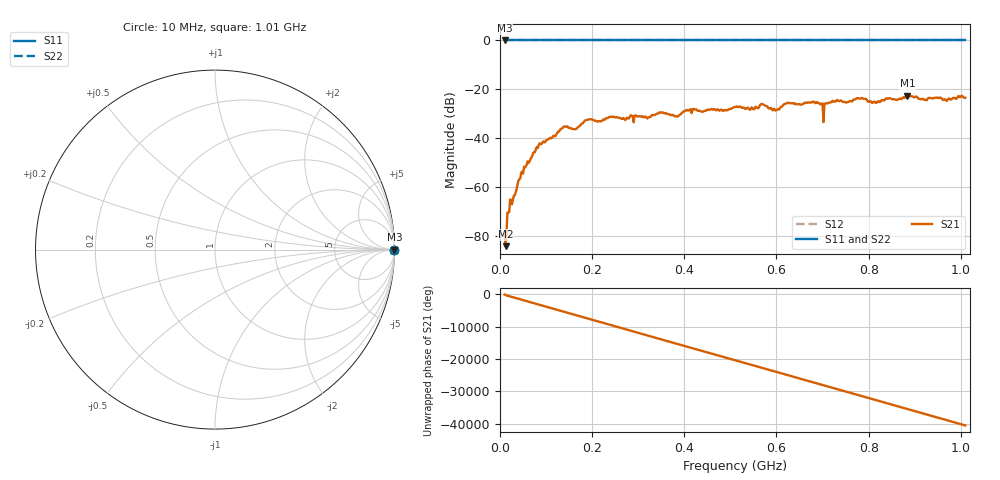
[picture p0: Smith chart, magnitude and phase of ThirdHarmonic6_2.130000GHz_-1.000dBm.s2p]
! 8/17/2025 1:27:26 AM
! C:\ANRITSUVNA\TEMP\TEMP.S2P
! CHANNEL.1
! TR.MEASUREMENT
! RAW.DATA
! RF.CORRECTION.OFF
! AVERAGING.OFF
! IF.BANDWIDTH: 5KHZ
! SWEEPTYPE:  FREQ.SWEEP(Linear)
! Reference Plane Port Info
! PORT:  PORT1  PORT2
! DISTANCE:  0  m  0  m
! TIME:  0  s  0  s
! PHASE.OFFSET:  0  deg.  0  deg.
! LOSS:  0  dB  0  dB
! REF.LOSS:  0  dB  0  dB
! REF.FREQ:  0  Hz  0  Hz
! Power Info
! POWER:  -20  dBm  -20  dBm
! EFF.POWER:  -20  dBm  -20  dBm
! SOURCE.ATTEN:  0  dB  0  dB
! TEST.ATTEN:  0  dB  0  dB
# GHZ S RI R 50.0
! FREQ.GHZ  S11RE  S11IM  S21RE  S21IM  S12RE  S12IM  S22RE  S22IM
!; PortSelection: Port_12
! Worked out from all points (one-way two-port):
!   501 points, 10 MHz to 1.01 GHz, reference 50 ohm
!   highest |S21| = -22.59 dB at 884 MHz (marker M1); lowest = -84.2 dB at 12 MHz (marker M2)
!   lowest |S11| = 0.0 dB at 10 MHz (marker M3)
!   |S11| at or under -10 dB: nowhere
!   |S22| runs from 0.0 to 0.0 dB; largest |S21 - S12| = 1.1
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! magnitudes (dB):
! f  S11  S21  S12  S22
! 10 MHz  0.0  -78.4  0.0  0.0
! 12 MHz  0.0  -84.2  0.0  0.0
! 20 MHz  0.0  -70.3  0.0  0.0
! 44 MHz  0.0  -56.5  0.0  0.0
! 82 MHz  0.0  -44.1  0.0  0.0
! 136 MHz  0.0  -35.9  0.0  0.0
! 162 MHz  0.0  -36.4  0.0  0.0
! 178 MHz  0.0  -34.0  0.0  0.0
! 344 MHz  0.0  -29.8  0.0  0.0
! 382 MHz  0.0  -31.1  0.0  0.0
! 410 MHz  0.0  -28.7  0.0  0.0
! 510 MHz  0.0  -27.2  0.0  0.0
! 570 MHz  0.0  -26.1  0.0  0.0
! 602 MHz  0.0  -28.2  0.0  0.0
! 622 MHz  0.0  -25.8  0.0  0.0
! 678 MHz  0.0  -25.1  0.0  0.0
! 700 MHz  0.0  -25.8  0.0  0.0
! 730 MHz  0.0  -24.6  0.0  0.0
! 812 MHz  0.0  -25.1  0.0  0.0
! 844 MHz  0.0  -23.7  0.0  0.0
! 884 MHz  0.0  -22.6  0.0  0.0
! 1.01 GHz  0.0  -23.5  0.0  0.0
